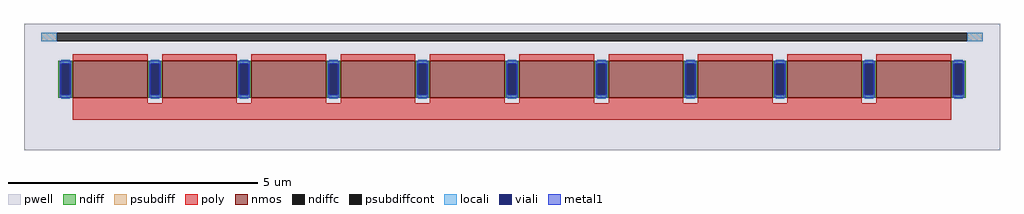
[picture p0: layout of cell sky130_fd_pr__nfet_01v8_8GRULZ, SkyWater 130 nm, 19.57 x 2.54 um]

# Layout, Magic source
magic
tech sky130A
magscale 1 2
<< pwell >>
rect -1957 -254 1957 254
<< nmos >>
rect -1761 -44 -1461 106
rect -1403 -44 -1103 106
rect -1045 -44 -745 106
rect -687 -44 -387 106
rect -329 -44 -29 106
rect 29 -44 329 106
rect 387 -44 687 106
rect 745 -44 1045 106
rect 1103 -44 1403 106
rect 1461 -44 1761 106
<< ndiff >>
rect -1819 94 -1761 106
rect -1819 -32 -1807 94
rect -1773 -32 -1761 94
rect -1819 -44 -1761 -32
rect -1461 94 -1403 106
rect -1461 -32 -1449 94
rect -1415 -32 -1403 94
rect -1461 -44 -1403 -32
rect -1103 94 -1045 106
rect -1103 -32 -1091 94
rect -1057 -32 -1045 94
rect -1103 -44 -1045 -32
rect -745 94 -687 106
rect -745 -32 -733 94
rect -699 -32 -687 94
rect -745 -44 -687 -32
rect -387 94 -329 106
rect -387 -32 -375 94
rect -341 -32 -329 94
rect -387 -44 -329 -32
rect -29 94 29 106
rect -29 -32 -17 94
rect 17 -32 29 94
rect -29 -44 29 -32
rect 329 94 387 106
rect 329 -32 341 94
rect 375 -32 387 94
rect 329 -44 387 -32
rect 687 94 745 106
rect 687 -32 699 94
rect 733 -32 745 94
rect 687 -44 745 -32
rect 1045 94 1103 106
rect 1045 -32 1057 94
rect 1091 -32 1103 94
rect 1045 -44 1103 -32
rect 1403 94 1461 106
rect 1403 -32 1415 94
rect 1449 -32 1461 94
rect 1403 -44 1461 -32
rect 1761 94 1819 106
rect 1761 -32 1773 94
rect 1807 -32 1819 94
rect 1761 -44 1819 -32
<< ndiffc >>
rect -1807 -32 -1773 94
rect -1449 -32 -1415 94
rect -1091 -32 -1057 94
rect -733 -32 -699 94
rect -375 -32 -341 94
rect -17 -32 17 94
rect 341 -32 375 94
rect 699 -32 733 94
rect 1057 -32 1091 94
rect 1415 -32 1449 94
rect 1773 -32 1807 94
<< psubdiff >>
rect -1887 184 -1825 218
rect 1825 184 1887 218
<< psubdiffcont >>
rect -1825 184 1825 218
<< poly >>
rect -1761 106 -1461 132
rect -1403 106 -1103 132
rect -1045 106 -745 132
rect -687 106 -387 132
rect -329 106 -29 132
rect 29 106 329 132
rect 387 106 687 132
rect 745 106 1045 132
rect 1103 106 1403 132
rect 1461 106 1761 132
rect -1761 -66 -1461 -44
rect -1403 -66 -1103 -44
rect -1045 -66 -745 -44
rect -687 -66 -387 -44
rect -329 -66 -29 -44
rect 29 -66 329 -44
rect 387 -66 687 -44
rect 745 -66 1045 -44
rect 1103 -66 1403 -44
rect 1461 -66 1761 -44
rect -1761 -132 1761 -66
<< locali >>
rect -1887 184 -1825 218
rect 1825 184 1887 218
rect -1807 94 -1773 110
rect -1807 -48 -1773 -32
rect -1449 94 -1415 110
rect -1449 -48 -1415 -32
rect -1091 94 -1057 110
rect -1091 -48 -1057 -32
rect -733 94 -699 110
rect -733 -48 -699 -32
rect -375 94 -341 110
rect -375 -48 -341 -32
rect -17 94 17 110
rect -17 -48 17 -32
rect 341 94 375 110
rect 341 -48 375 -32
rect 699 94 733 110
rect 699 -48 733 -32
rect 1057 94 1091 110
rect 1057 -48 1091 -32
rect 1415 94 1449 110
rect 1415 -48 1449 -32
rect 1773 94 1807 110
rect 1773 -48 1807 -32
<< viali >>
rect -1807 -32 -1773 94
rect -1449 -32 -1415 94
rect -1091 -32 -1057 94
rect -733 -32 -699 94
rect -375 -32 -341 94
rect -17 -32 17 94
rect 341 -32 375 94
rect 699 -32 733 94
rect 1057 -32 1091 94
rect 1415 -32 1449 94
rect 1773 -32 1807 94
<< metal1 >>
rect -1813 94 -1767 106
rect -1813 -32 -1807 94
rect -1773 -32 -1767 94
rect -1813 -44 -1767 -32
rect -1455 94 -1409 106
rect -1455 -32 -1449 94
rect -1415 -32 -1409 94
rect -1455 -44 -1409 -32
rect -1097 94 -1051 106
rect -1097 -32 -1091 94
rect -1057 -32 -1051 94
rect -1097 -44 -1051 -32
rect -739 94 -693 106
rect -739 -32 -733 94
rect -699 -32 -693 94
rect -739 -44 -693 -32
rect -381 94 -335 106
rect -381 -32 -375 94
rect -341 -32 -335 94
rect -381 -44 -335 -32
rect -23 94 23 106
rect -23 -32 -17 94
rect 17 -32 23 94
rect -23 -44 23 -32
rect 335 94 381 106
rect 335 -32 341 94
rect 375 -32 381 94
rect 335 -44 381 -32
rect 693 94 739 106
rect 693 -32 699 94
rect 733 -32 739 94
rect 693 -44 739 -32
rect 1051 94 1097 106
rect 1051 -32 1057 94
rect 1091 -32 1097 94
rect 1051 -44 1097 -32
rect 1409 94 1455 106
rect 1409 -32 1415 94
rect 1449 -32 1455 94
rect 1409 -44 1455 -32
rect 1767 94 1813 106
rect 1767 -32 1773 94
rect 1807 -32 1813 94
rect 1767 -44 1813 -32
<< properties >>
string gencell sky130_fd_pr__nfet_01v8
string FIXED_BBOX -1904 -201 1904 201
string parameters w 0.75 l 1.5 m 1 nf 10 diffcov 100 polycov 100 guard 1 glc 1 grc 1 gtc 1 gbc 1 tbcov 100 rlcov 100 topc 0 botc 1 poverlap 0 doverlap 1 lmin 0.15 wmin 0.42 compatible {sky130_fd_pr__nfet_01v8 sky130_fd_pr__nfet_01v8_lvt  sky130_fd_bs_flash__special_sonosfet_star  sky130_fd_pr__nfet_g5v0d10v5 sky130_fd_pr__nfet_05v0_nvt  sky130_fd_pr__nfet_03v3_nvt} full_metal 1 viasrc 100 viadrn 100 viagate 100 viagb 0 viagr 0 viagl 0 viagt 0
string library sky130
<< end >>
